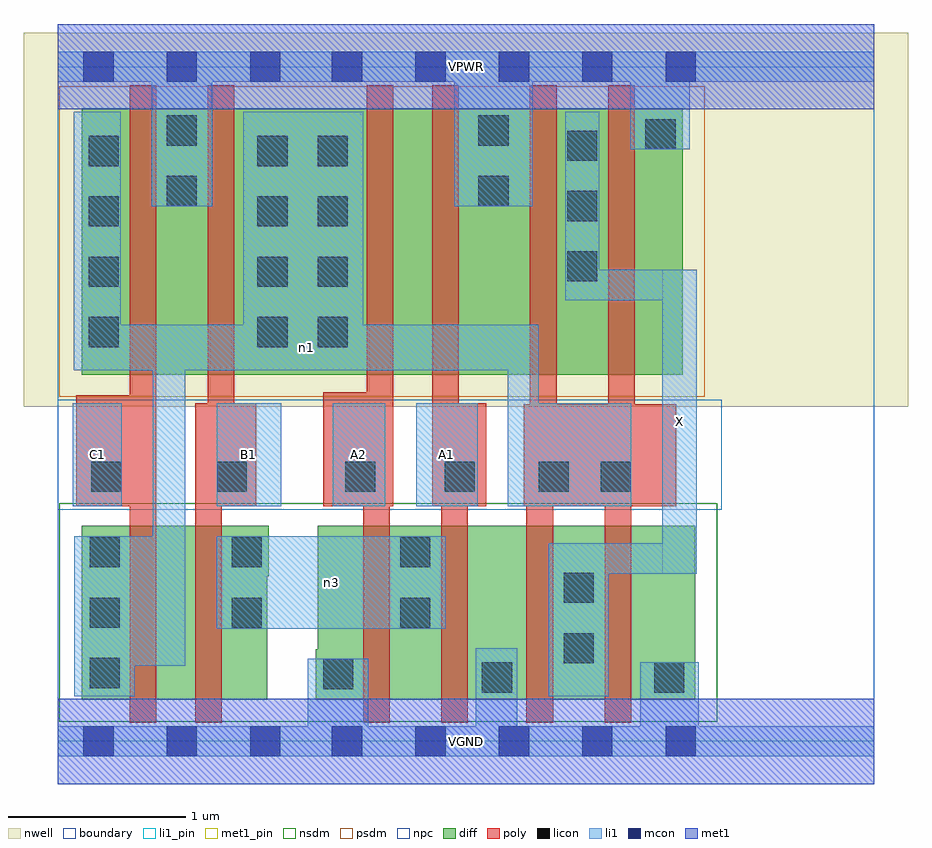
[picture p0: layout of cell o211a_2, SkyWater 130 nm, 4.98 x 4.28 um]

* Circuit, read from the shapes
.subckt o211a_2 A1 A2 B1 C1 VGND VPWR X n1 n3
XM1 n2 C1 n1 VSUBS sky130_fd_pr__nfet_01v8 w=0.98 l=0.15
XM2 n3 B1 n2 VSUBS sky130_fd_pr__nfet_01v8 w=0.98 l=0.15
XM3 n3 A2 VGND VSUBS sky130_fd_pr__nfet_01v8 w=0.98 l=0.15
XM4 VGND A1 n3 VSUBS sky130_fd_pr__nfet_01v8 w=0.98 l=0.15
XM5 X n1 VGND VSUBS sky130_fd_pr__nfet_01v8 w=0.98 l=0.15 m=2
XM6 VPWR C1 n1 n4 sky130_fd_pr__pfet_01v8 w=1.5 l=0.15
XM7 n1 B1 VPWR n4 sky130_fd_pr__pfet_01v8 w=1.5 l=0.15
XM8 n5 A2 n1 n4 sky130_fd_pr__pfet_01v8 w=1.5 l=0.15
XM9 VPWR A1 n5 n4 sky130_fd_pr__pfet_01v8 w=1.5 l=0.15
XM10 X n1 VPWR n4 sky130_fd_pr__pfet_01v8 w=1.5 l=0.15 m=2
.ends

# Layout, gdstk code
import gdstk
lib = gdstk.Library(unit=1e-6, precision=1e-09)
def R(c, l, rs):  # rectangles x0, y0, x1, y1
    for r in rs: c.add(gdstk.rectangle(r[:2], r[2:], *l))
def A(c, l, x, y, w, h, nx, ny, dx, dy):  # array of equal rectangles
    R(c, l, [(x+i*dx, y+j*dy, x+i*dx+w, y+j*dy+h) for i in range(nx) for j in range(ny)])
nwell = (64, 20)
diff = (65, 20)
poly = (66, 20)
licon = (66, 44)
li1_pin = (67, 16)
li1 = (67, 20)
mcon = (67, 44)
met1_pin = (68, 16)
met1 = (68, 20)
nsdm = (93, 44)
psdm = (94, 20)
npc = (95, 20)
boundary = (235, 4)

o211a_2 = lib.new_cell('o211a_2')
R(o211a_2, nwell, [(-0.19,1.885,4.79,3.99), (0,1.885,4.6,3.99)])
R(o211a_2, diff, [(0.135,0.235,1.18,1.215), (1.455,0.235,3.59,0.52), (1.465,0.235,3.59,1.215), (0.135,0.93,1.19,1.215), (0.135,2.065,3.52,3.565)])
R(o211a_2, poly, [(0.405,0.105,0.555,3.695), (0.775,0.105,0.925,1.905), (0.845,0.105,0.925,3.695), (1.72,0.105,1.87,1.965), (2.16,0.105,2.31,1.905), (2.64,0.105,2.79,1.9), (3.08,0.105,3.23,1.9), (0.105,1.325,0.555,1.95), (0.775,1.325,1.12,1.905), (0.925,1.325,0.995,3.695), (1.495,1.325,1.89,1.965), (1.74,1.325,1.89,3.695), (2.11,1.325,2.26,3.695), (2.11,1.325,2.415,1.905), (2.625,1.325,3.485,1.9), (2.66,1.325,2.81,3.695), (3.1,1.325,3.25,3.695)])
A(o211a_2, licon, 0.18, 0.3, 0.17, 0.17, 1, 3, 0, 0.34)
A(o211a_2, licon, 0.175, 2.22, 0.17, 0.17, 1, 4, 0, 0.34)
A(o211a_2, licon, 1.125, 2.22, 0.17, 0.17, 1, 4, 0, 0.34)
A(o211a_2, licon, 1.465, 2.22, 0.17, 0.17, 1, 4, 0, 0.34)
A(o211a_2, licon, 2.87, 2.59, 0.17, 0.17, 1, 3, 0, 0.34)
R(o211a_2, licon, [(2.39,0.275,2.56,0.445), (3.36,0.275,3.53,0.445), (1.495,0.295,1.665,0.465), (2.85,0.44,3.02,0.61), (0.98,0.64,1.15,0.81), (1.93,0.64,2.1,0.81), (2.85,0.78,3.02,0.95), (0.98,0.98,1.15,1.15), (1.93,0.98,2.1,1.15), (0.19,1.405,0.36,1.575), (0.895,1.405,1.065,1.575), (1.62,1.405,1.79,1.575), (2.18,1.405,2.35,1.575), (2.71,1.405,2.88,1.575), (3.06,1.405,3.23,1.575), (0.615,3.015,0.785,3.185), (2.37,3.015,2.54,3.185), (3.31,3.335,3.48,3.505), (0.615,3.355,0.785,3.525), (2.37,3.355,2.54,3.525)])
R(o211a_2, li1_pin, [(3.405,0.945,3.6,2.655), (0.085,1.325,0.36,1.905), (0.895,1.325,1.26,1.905), (1.55,1.325,1.845,1.905), (2.02,1.325,2.365,1.905)])
R(o211a_2, li1, [(0,-0.085,4.6,0.085), (1.41,-0.085,1.75,0.465), (2.355,-0.085,2.59,0.525), (3.28,-0.085,3.61,0.445), (0.095,0.255,0.435,1.155), (2.765,0.255,3.105,1.115), (0.095,0.425,0.72,1.155), (0.535,0.425,0.72,2.345), (0.895,0.635,2.185,1.155), (2.765,0.945,3.6,1.115), (3.405,0.945,3.6,2.655), (0.085,1.325,0.36,1.905), (0.895,1.325,1.26,1.905), (1.55,1.325,1.845,1.905), (2.02,1.325,2.365,1.905), (2.535,1.325,3.23,1.905), (2.535,1.325,2.71,2.345), (0.09,2.09,2.71,2.345), (0.09,2.09,0.355,3.545), (1.045,2.09,1.72,3.545), (2.86,2.485,3.05,3.545), (2.86,2.485,3.6,2.655), (0.53,3.015,0.87,3.885), (2.235,3.015,2.675,3.885), (3.225,3.335,3.56,3.885), (0,3.715,4.6,3.885)])
A(o211a_2, mcon, 0.145, -0.085, 0.17, 0.17, 3, 2, 0.47, 3.8)
A(o211a_2, mcon, 1.545, -0.085, 0.17, 0.17, 5, 2, 0.47, 3.8)
R(o211a_2, met1_pin, [(0,-0.24,4.6,0.24), (0,3.56,4.6,4.04)])
R(o211a_2, met1, [(0,-0.24,4.6,0.24), (0,3.56,4.6,4.04)])
R(o211a_2, nsdm, [(0.01,0.11,3.715,1.34)])
R(o211a_2, psdm, [(0.01,1.94,3.645,3.69)])
R(o211a_2, npc, [(0,1.305,3.74,1.925)])
R(o211a_2, boundary, [(0,0,4.6,3.8)])
o211a_2.add(gdstk.Label('A1', (2.192,1.615), layer=67, texttype=5))
o211a_2.add(gdstk.Label('A2', (1.697,1.615), layer=67, texttype=5))
o211a_2.add(gdstk.Label('B1', (1.077,1.615), layer=67, texttype=5))
o211a_2.add(gdstk.Label('C1', (0.222,1.615), layer=67, texttype=5))
o211a_2.add(gdstk.Label('X', (3.502,1.8), layer=67, texttype=5))
o211a_2.add(gdstk.Label('n3', (1.54,0.895), layer=67, texttype=5))
o211a_2.add(gdstk.Label('n1', (1.4,2.217), layer=67, texttype=5))
o211a_2.add(gdstk.Label('VPWR', (2.3,3.8), layer=68, texttype=5))
o211a_2.add(gdstk.Label('VGND', (2.3,0), layer=68, texttype=5))
o211a_2.add(gdstk.Label('A1', (2.192,1.615), layer=67, texttype=16))
o211a_2.add(gdstk.Label('A2', (1.697,1.615), layer=67, texttype=16))
o211a_2.add(gdstk.Label('B1', (1.077,1.615), layer=67, texttype=16))
o211a_2.add(gdstk.Label('C1', (0.222,1.615), layer=67, texttype=16))
o211a_2.add(gdstk.Label('X', (3.502,1.8), layer=67, texttype=16))
o211a_2.add(gdstk.Label('VPWR', (2.3,3.8), layer=68, texttype=16))
o211a_2.add(gdstk.Label('VGND', (2.3,0), layer=68, texttype=16))

lib.write_gds('o211a_2.gds')
